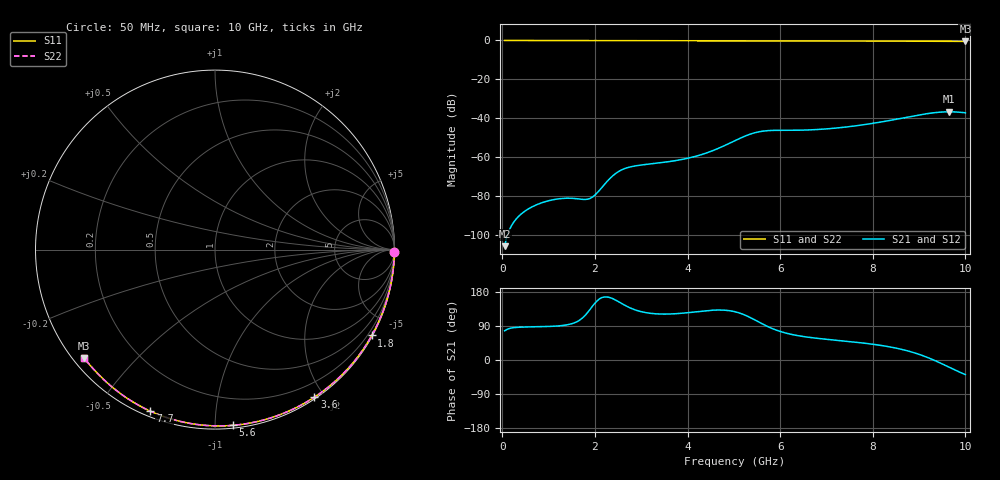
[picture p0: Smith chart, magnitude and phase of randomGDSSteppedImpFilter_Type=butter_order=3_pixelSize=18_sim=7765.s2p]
! freq	dB(S11)	phase(S11)	dB(S12)	phase(S12)
!  dB(S21)	phase(S21)	dB(S22)	phase(S22)
!S-par simulation data
#  GHz  S  DB  R 50
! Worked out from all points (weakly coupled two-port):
!   200 points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, 50 MHz to 10 GHz, reference 50 ohm
!   highest |S21| = -36.75 dB at 9.65 GHz (marker M1); lowest = -105.9 dB at 50 MHz (marker M2)
!   lowest |S11| = -0.5 dB at 10 GHz (marker M3), VSWR 36.62, Z = 1.54 - j18 ohm
!   |S11| at or under -10 dB: nowhere
!   |S22| runs from -0.5 to 0.0 dB; largest |S21 - S12| = 0
!   S11 on the Smith chart (normalised r, x): 50 MHz: open; 1.8 GHz: 0.03, -3.91; 3.6 GHz: 0.02, -1.88; 5.6 GHz: 0.02, -1.11; 7.7 GHz: 0.02, -0.68; 10 GHz: 0.03, -0.36
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0.05  -0.00 -0.8  -105.95 77.1  -105.95 77.1  -0.00 -0.8
0.9  -0.02 -14.5  -83.22 88.1  -83.22 88.1  -0.02 -14.5
1.75  -0.03 -27.9  -81.88 112.9  -81.88 112.9  -0.03 -27.9
1.8  -0.04 -28.7  -81.86 119.2  -81.86 119.2  -0.04 -28.7
2  -0.04 -31.8  -79.66 150.0  -79.66 150.0  -0.04 -31.8
2.35  -0.04 -37.2  -70.48 163.6  -70.48 163.6  -0.04 -37.2
2.45  -0.05 -38.8  -68.48 158.0  -68.48 158.0  -0.05 -38.8
2.6  -0.05 -41.1  -66.41 147.6  -66.41 147.6  -0.05 -41.1
2.85  -0.06 -44.9  -64.70 133.0  -64.70 133.0  -0.06 -44.9
3.4  -0.07 -53.1  -63.04 121.4  -63.04 121.4  -0.07 -53.1
3.6  -0.08 -56.1  -62.40 121.3  -62.40 121.3  -0.08 -56.1
3.95  -0.09 -61.2  -60.95 124.2  -60.95 124.2  -0.09 -61.2
4.35  -0.10 -66.9  -58.42 129.5  -58.42 129.5  -0.10 -66.9
5.05  -0.12 -76.7  -51.33 126.6  -51.33 126.6  -0.12 -76.7
5.35  -0.13 -80.8  -48.28 112.3  -48.28 112.3  -0.13 -80.8
5.6  -0.14 -84.2  -46.80 96.2  -46.80 96.2  -0.14 -84.2
6.7  -0.19 -98.9  -46.00 58.6  -46.00 58.6  -0.19 -98.9
7.7  -0.27 -111.8  -43.75 46.1  -43.75 46.1  -0.27 -111.8
8.35  -0.33 -120.0  -41.28 35.0  -41.28 35.0  -0.33 -120.0
9.2  -0.42 -130.6  -37.61 5.8  -37.61 5.8  -0.42 -130.6
9.65  -0.45 -136.1  -36.75 -19.1  -36.75 -19.1  -0.45 -136.1
10  -0.47 -140.4  -37.25 -38.7  -37.25 -38.7  -0.47 -140.4
